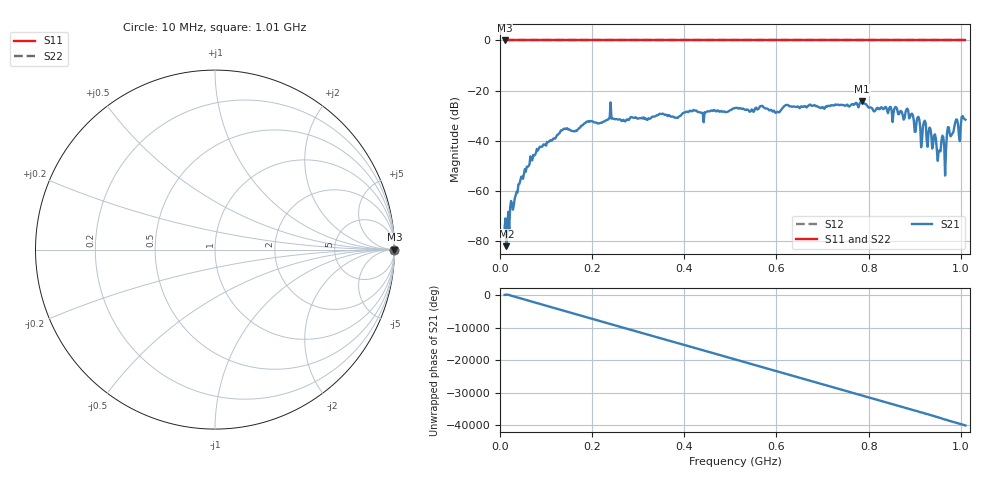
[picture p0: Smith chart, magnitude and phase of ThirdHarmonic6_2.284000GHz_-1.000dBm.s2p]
! 8/17/2025 2:59:07 AM
! C:\ANRITSUVNA\TEMP\TEMP.S2P
! CHANNEL.1
! TR.MEASUREMENT
! RAW.DATA
! RF.CORRECTION.OFF
! AVERAGING.OFF
! IF.BANDWIDTH: 5KHZ
! SWEEPTYPE:  FREQ.SWEEP(Linear)
! Reference Plane Port Info
! PORT:  PORT1  PORT2
! DISTANCE:  0  m  0  m
! TIME:  0  s  0  s
! PHASE.OFFSET:  0  deg.  0  deg.
! LOSS:  0  dB  0  dB
! REF.LOSS:  0  dB  0  dB
! REF.FREQ:  0  Hz  0  Hz
! Power Info
! POWER:  -20  dBm  -20  dBm
! EFF.POWER:  -20  dBm  -20  dBm
! SOURCE.ATTEN:  0  dB  0  dB
! TEST.ATTEN:  0  dB  0  dB
# GHZ S RI R 50.0
! FREQ.GHZ  S11RE  S11IM  S21RE  S21IM  S12RE  S12IM  S22RE  S22IM
!; PortSelection: Port_12
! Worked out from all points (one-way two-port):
!   501 points, 10 MHz to 1.01 GHz, reference 50 ohm
!   highest |S21| = -24.23 dB at 786 MHz (marker M1); lowest = -82.1 dB at 14 MHz (marker M2)
!   lowest |S11| = 0.0 dB at 10 MHz (marker M3)
!   |S11| at or under -10 dB: nowhere
!   |S22| runs from 0.0 to 0.0 dB; largest |S21 - S12| = 1.1
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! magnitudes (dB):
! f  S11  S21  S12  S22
! 10 MHz  0.0  -74.6  0.0  0.0
! 14 MHz  0.0  -82.1  0.0  0.0
! 44 MHz  0.0  -56.0  0.0  0.0
! 84 MHz  0.0  -43.3  0.0  0.0
! 136 MHz  0.0  -35.7  0.0  0.0
! 178 MHz  0.0  -34.0  0.0  0.0
! 240 MHz  0.0  -24.7  0.0  0.0
! 268 MHz  0.0  -31.7  0.0  0.0
! 344 MHz  0.0  -29.6  0.0  0.0
! 510 MHz  0.0  -27.0  0.0  0.0
! 602 MHz  0.0  -28.5  0.0  0.0
! 678 MHz  0.0  -26.1  0.0  0.0
! 786 MHz  0.0  -24.2  0.0  0.0
! 844 MHz  0.0  -27.4  0.0  0.0
! 908 MHz  0.0  -30.5  0.0  0.0
! 914 MHz  0.0  -42.6  0.0  0.0
! 922 MHz  0.0  -32.0  0.0  0.0
! 952 MHz  0.0  -44.2  0.0  0.0
! 960 MHz  0.0  -38.0  0.0  0.0
! 966 MHz  0.0  -53.9  0.0  0.0
! 974 MHz  0.0  -34.7  0.0  0.0
! 1.01 GHz  0.0  -31.6  0.0  0.0
